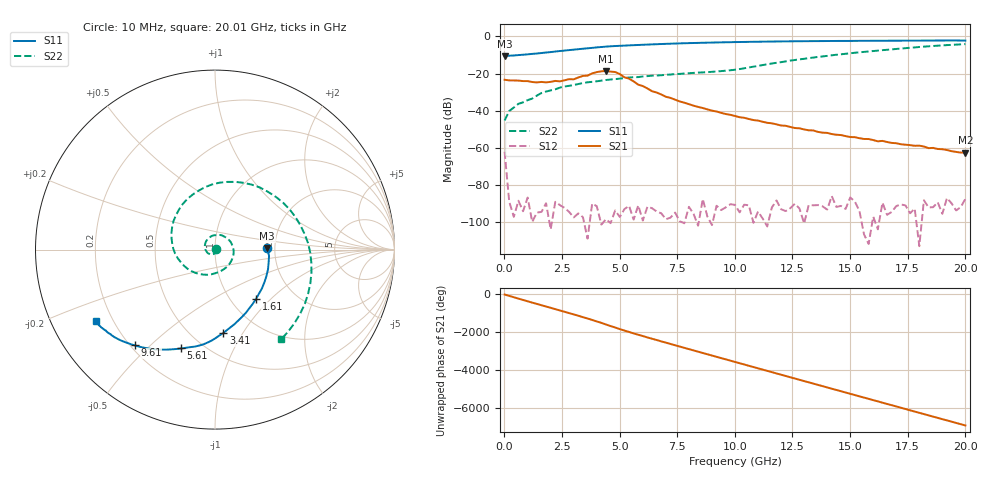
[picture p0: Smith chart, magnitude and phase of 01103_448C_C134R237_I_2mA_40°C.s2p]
!;Filter: kein Filter
!auto
!3/21/2019 9:26:52 AM
!3/21/2019 9:27:07 AM
!SP-Measurements Prober G4
!SP-Measurements Prober G4
!01103_448C
!134
!237
!12
!40
!-20
!0.00199954
!1.75
!0.22129449
!0.22129449
# Hz S  RI  R 50
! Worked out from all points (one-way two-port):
!   101 points, 10 MHz to 20.01 GHz, reference 50 ohm
!   highest |S21| = -18.59 dB at 4.41 GHz (marker M1); lowest = -62.6 dB at 20.01 GHz (marker M2)
!   lowest |S11| = -10.7 dB at 10 MHz (marker M3), VSWR 1.82, Z = 91 + j1.64 ohm
!   |S11| at or under -10 dB: start of sweep to 651.1 MHz
!   |S22| runs from -45.3 to -4.1 dB; largest |S21 - S12| = 0.12
!   S11 on the Smith chart (normalised r, x): 10 MHz: 1.82, +0.03; 1.61 GHz: 1.30, -0.82; 3.41 GHz: 0.69, -0.83; 5.61 GHz: 0.39, -0.64; 9.61 GHz: 0.22, -0.45; 20.01 GHz: 0.14, -0.27
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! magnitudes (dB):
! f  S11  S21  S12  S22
! 10 MHz  -10.7  -23.3  -62.1  -45.3
! 210 MHz  -10.4  -23.7  -89.0  -40.2
! 610 MHz  -10.0  -23.8  -88.5  -36.3
! 1.21 GHz  -9.4  -24.5  -99.9  -33.5
! 1.61 GHz  -8.9  -24.5  -94.5  -30.5
! 2.41 GHz  -7.9  -24.2  -90.8  -27.6
! 3.01 GHz  -7.1  -23.1  -97.5  -26.2
! 3.41 GHz  -6.6  -21.3  -97.3  -25.1
! 4.41 GHz  -5.5  -18.6  -98.4  -23.5
! 4.81 GHz  -5.2  -19.2  -93.7  -23.0
! 5.61 GHz  -4.7  -24.2  -98.6  -22.0
! 6.41 GHz  -4.3  -29.5  -92.5  -21.1
! 6.81 GHz  -4.1  -31.3  -95.3  -20.9
! 8.21 GHz  -3.5  -37.3  -95.6  -19.6
! 9.61 GHz  -3.1  -41.8  -92.0  -18.4
! 10.01 GHz  -3.0  -42.9  -90.7  -17.9
! 12.01 GHz  -2.7  -48.0  -93.1  -13.9
! 13.41 GHz  -2.5  -50.6  -91.0  -11.4
! 16.81 GHz  -2.3  -57.3  -94.5  -7.0
! 18.01 GHz  -2.2  -58.8  -113.0  -5.7
! 18.41 GHz  -2.2  -60.2  -92.1  -5.3
! 20.01 GHz  -2.2  -62.6  -87.5  -4.1
